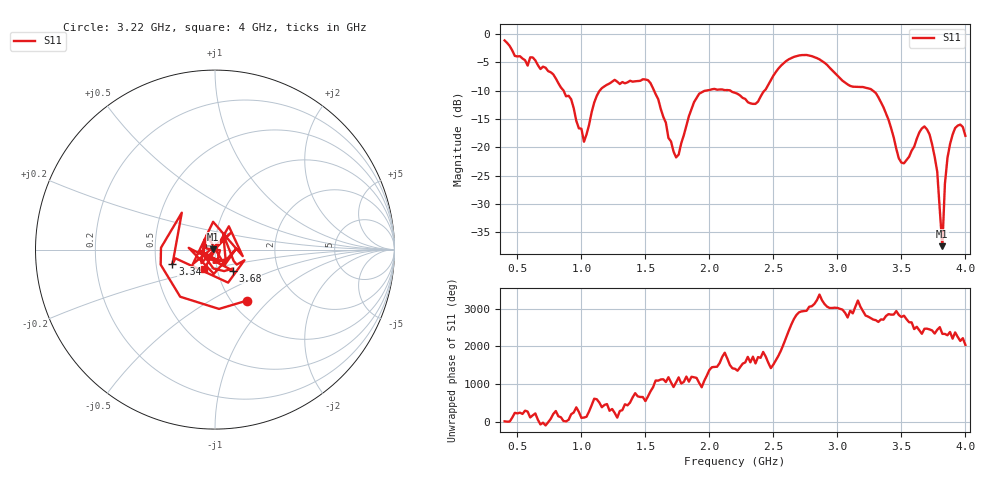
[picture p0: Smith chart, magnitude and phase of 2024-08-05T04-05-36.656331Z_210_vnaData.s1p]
!Created with skrf (http://scikit-rf.org).
# Hz S RI R 50.0
!freq ReS11 ImS11
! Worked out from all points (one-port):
!   181 points, 400 MHz to 4 GHz, reference 50 ohm
!   lowest |S11| = -37.4 dB at 3.82 GHz (marker M1), VSWR 1.03, Z = 48.7 + j0.122 ohm
!   |S11| at or under -10 dB: 860.6 MHz to 1.143 GHz (282.8 MHz wide, 28.2 % of centre); 1.567 GHz to 1.974 GHz (406.2 MHz wide, 22.9 % of centre); 3.276 GHz to end of sweep (the widest 3 of 4)
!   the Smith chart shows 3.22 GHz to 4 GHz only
!   S11 on the Smith chart (normalised r, x): 3.22 GHz: 1.17, -0.75; 3.34 GHz: 0.61, -0.10; 3.68 GHz: 1.18, -0.28; 4 GHz: 0.86, -0.19
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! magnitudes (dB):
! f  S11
! 400 MHz  -1.2
! 860 MHz  -10.0
! 920 MHz  -11.5
! 1.02 GHz  -19.0
! 1.14 GHz  -10.1
! 1.3 GHz  -8.8
! 1.54 GHz  -8.7
! 1.72 GHz  -20.8
! 1.76 GHz  -21.3
! 1.84 GHz  -14.5
! 1.92 GHz  -10.6
! 2.2 GHz  -10.4
! 2.36 GHz  -12.3
! 2.66 GHz  -4.1
! 2.86 GHz  -4.5
! 3.1 GHz  -9.2
! 3.22 GHz  -9.5
! 3.34 GHz  -12.0
! 3.48 GHz  -22.0
! 3.56 GHz  -21.7
! 3.68 GHz  -16.3
! 3.72 GHz  -17.7
! 3.78 GHz  -24.3
! 3.82 GHz  -37.4
! 3.84 GHz  -26.5
! 3.88 GHz  -19.4
! 3.94 GHz  -16.2
! 4 GHz  -18.0
